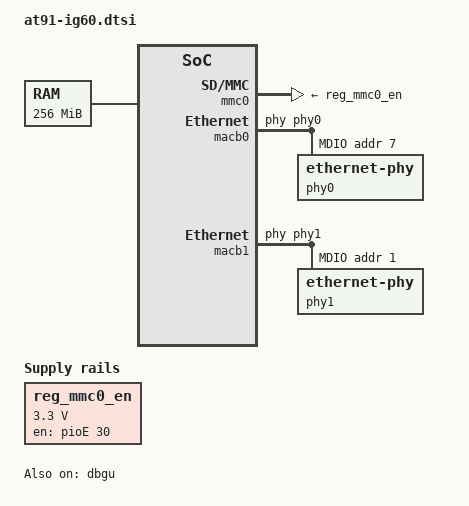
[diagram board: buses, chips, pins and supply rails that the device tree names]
// SPDX-License-Identifier: LicenseRef-Ezurio-Clause
/*
 * at91-ig60.dtsi - Device Tree file for the Sentrius IG60
 *
 * Copyright (C) 2018 Ezurio
 */

/ {
	memory@20000000 {
		reg = <0x20000000 0x10000000>;
	};

	reg_mmc0_en: reg_mmc0_en_grp {
		pinctrl-names = "default";
		pinctrl-0 = <&pinctrl_mmc0_en>;

		compatible = "regulator-fixed";
		regulator-name = "VDD MMC0";
		regulator-min-microvolt = <3300000>;
		regulator-max-microvolt = <3300000>;

		gpio = <&pioE 30 GPIO_ACTIVE_HIGH>;
		enable-active-high;
	};

	ahb {
		apb {
			pinctrl@fffff200 {
				pinctrl-names = "default";
				pinctrl-0 = <&pinctrl_led>;

				board {
					bootph-all;
					pinctrl_mmc0_cd: mmc0_cd {
						bootph-all;
						atmel,pins =
							<AT91_PIOE 31 AT91_PERIPH_GPIO AT91_PINCTRL_DEGLITCH>;
					};

					pinctrl_mmc0_en: mmc0_en {
						bootph-all;
						atmel,pins =
							<AT91_PIOE 30 AT91_PERIPH_GPIO AT91_PINCTRL_NONE>;
					};

					pinctrl_led: led {
						bootph-all;
						atmel,pins =
							<AT91_PIOA 29 AT91_PERIPH_GPIO (AT91_PINCTRL_OUTPUT | AT91_PINCTRL_OUTPUT_VAL(0))>,
							<AT91_PIOA 17 AT91_PERIPH_GPIO (AT91_PINCTRL_OUTPUT | AT91_PINCTRL_OUTPUT_VAL(0))>,
							<AT91_PIOA 13 AT91_PERIPH_GPIO (AT91_PINCTRL_OUTPUT | AT91_PINCTRL_OUTPUT_VAL(1))>,
							<AT91_PIOA 15 AT91_PERIPH_GPIO (AT91_PINCTRL_OUTPUT | AT91_PINCTRL_OUTPUT_VAL(1))>,
							<AT91_PIOA 18 AT91_PERIPH_GPIO (AT91_PINCTRL_OUTPUT | AT91_PINCTRL_OUTPUT_VAL(1))>,
							<AT91_PIOA 25 AT91_PERIPH_GPIO (AT91_PINCTRL_OUTPUT | AT91_PINCTRL_OUTPUT_VAL(1))>,
							<AT91_PIOA  1 AT91_PERIPH_GPIO (AT91_PINCTRL_OUTPUT | AT91_PINCTRL_OUTPUT_VAL(1))>,
							<AT91_PIOA  6 AT91_PERIPH_GPIO (AT91_PINCTRL_OUTPUT | AT91_PINCTRL_OUTPUT_VAL(1))>,
							<AT91_PIOA 16 AT91_PERIPH_GPIO (AT91_PINCTRL_OUTPUT | AT91_PINCTRL_OUTPUT_VAL(1))>,
							<AT91_PIOA 27 AT91_PERIPH_GPIO (AT91_PINCTRL_OUTPUT | AT91_PINCTRL_OUTPUT_VAL(1))>,
							<AT91_PIOA  3 AT91_PERIPH_GPIO (AT91_PINCTRL_OUTPUT | AT91_PINCTRL_OUTPUT_VAL(1))>;
					};
				};
			};
		};
	};
};

&mmc0 {
	bootph-all;
	pinctrl-names = "default";
	pinctrl-0 = <&pinctrl_mmc0_clk_cmd_dat0 &pinctrl_mmc0_dat1_3 &pinctrl_mmc0_cd>;

	vmmc-supply = <&reg_mmc0_en>;
	status = "okay";

	slot@0 {
		reg = <0>;
		bus-width = <4>;
		cd-gpios = <&pioE 31 GPIO_ACTIVE_LOW>;
	};
};

&macb0 {
	status = "okay";

	phy-handle = <&phy0>;

	mdio {
		#address-cells = <1>;
		#size-cells = <0>;

		phy0: ethernet-phy@7 {
			reg = <7>;
		};
	};
};

&macb1 {
	status = "okay";

	phy-handle = <&phy1>;

	mdio {
		#address-cells = <1>;
		#size-cells = <0>;

		phy1: ethernet-phy@1 {
			reg = <1>;
		};
	};
};

&dbgu {
	bootph-all;
	status = "okay";
};
